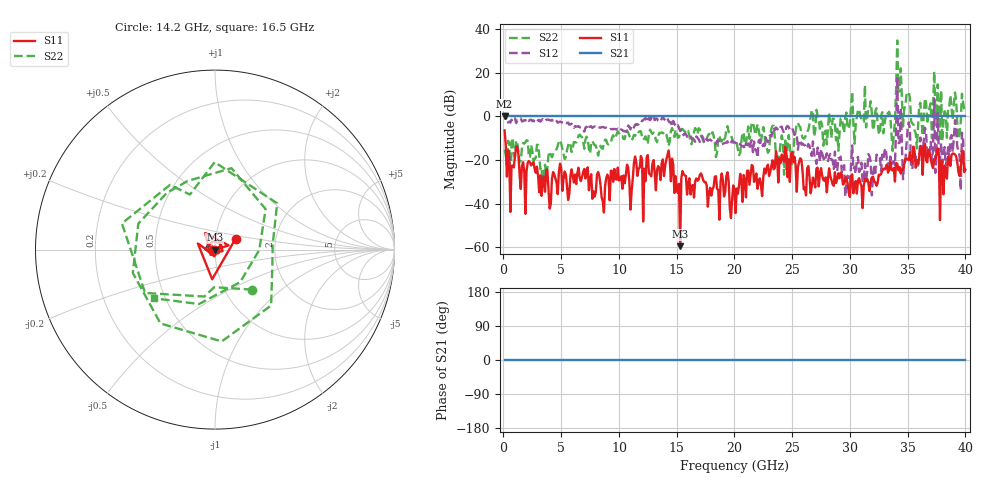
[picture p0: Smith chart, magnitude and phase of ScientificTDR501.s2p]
# MHz MA S R 50.0
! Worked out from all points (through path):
!   400 points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, 100 MHz to 40 GHz, reference 50 ohm
!   highest |S21| = 0.00 dB at 100 MHz (marker M1); lowest = 0.0 dB at 100 MHz (marker M2)
!   lowest |S11| = -59.4 dB at 15.3 GHz (marker M3), VSWR 1.00, Z = 49.9 - j0.0224 ohm
!   |S11| at or under -10 dB: 152.5 MHz to end of sweep
!   |S22| runs from -35.1 to 34.7 dB; largest |S21 - S12| = 7.1
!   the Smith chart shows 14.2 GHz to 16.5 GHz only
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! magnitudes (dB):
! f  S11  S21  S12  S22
! 100 MHz  -6.5  0.0  -0.5  -15.3
! 600 MHz  -43.7  0.0  -2.9  -35.1
! 1.2 GHz  -13.8  0.0  -1.9  -12.2
! 1.9 GHz  -44.6  0.0  -1.9  -11.9
! 6.8 GHz  -27.9  0.0  -5.4  -9.5
! 13.4 GHz  -22.8  0.0  -2.1  -9.0
! 15.2 GHz  -30.9  0.0  -5.2  -9.6
! 15.3 GHz  -59.4  0.0  -6.7  -7.1
! 15.5 GHz  -25.1  0.0  -7.2  -5.8
! 20.1 GHz  -44.3  0.0  -12.1  -11.0
! 26.7 GHz  -32.0  0.0  -18.2  2.8
! 33.4 GHz  -24.6  0.0  -23.6  2.1
! 33.7 GHz  -24.8  0.0  -20.7  -15.9
! 34.1 GHz  -21.7  0.0  18.1  34.7
! 34.6 GHz  -24.7  0.0  -28.8  -4.7
! 37.1 GHz  -22.2  0.0  -20.3  -10.1
! 37.3 GHz  -19.5  0.0  8.0  20.5
! 37.4 GHz  -20.0  0.0  -25.9  1.6
! 37.6 GHz  -14.6  0.0  1.5  14.6
! 37.8 GHz  -47.5  0.0  -21.2  -11.5
! 37.9 GHz  -20.4  0.0  -12.2  11.7
! 40 GHz  -24.4  0.0  -26.8  3.4
